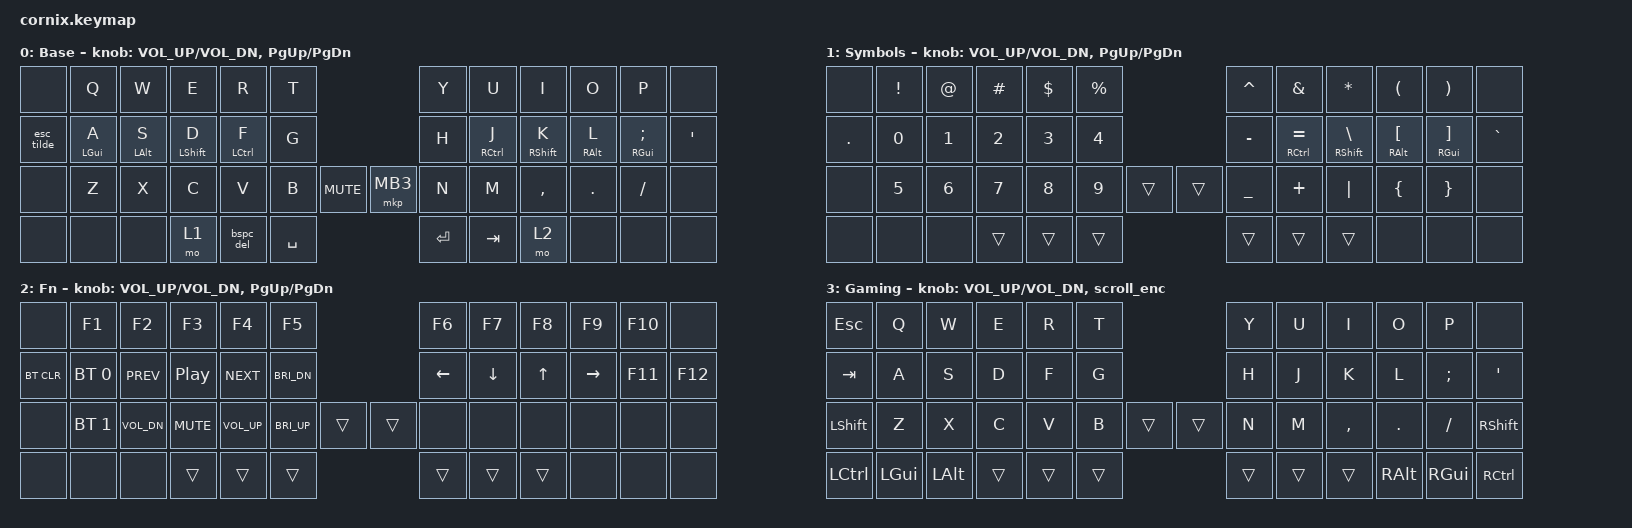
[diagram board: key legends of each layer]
/*
 * TOTEM keymap, adapted for the Cornix 50-key matrix.
 *
 * Cornix positions (see boards/jzf/cornix/cornix-layouts.dtsi):
 *   Row 0 (12):  0  1  2  3  4  5    |     6  7  8  9 10 11
 *   Row 1 (12): 12 13 14 15 16 17    |    18 19 20 21 22 23
 *   Row 2 (14): 24 25 26 27 28 29 30 | 31 32 33 34 35 36 37
 *   Row 3 (12): 38 39 40 41 42 43    |    44 45 46 47 48 49
 *
 * Adaptations from zmk-config-totem/config/totem.keymap:
 *   - pos 31 = MB3 (Base only), pos 30 = K_MUTE (board-default spots)
 *   - pos 12/23: Base esc_tilde/SQT, Symbols DOT/GRAVE, Fn BT_CLR/F12
 *   - thumb row: 44-46 = ENTER/TAB/mo2, 41-43 = mo1/bspc_del/SPACE; outer clusters empty
 *   - encoder sensor-bindings on every layer
 */

#include <behaviors.dtsi>
#include <dt-bindings/zmk/keys.h>
#include <dt-bindings/zmk/bt.h>
#include <dt-bindings/zmk/pointing.h>

/ {
    // Press both layer keys (pos 41 = mo 1, pos 46 = mo 2) together to toggle the Gaming layer (3).
    // The same combo works on the Gaming layer to switch back.
    combos {
        compatible = "zmk,combos";

        toggle_gaming: toggle_gaming {
            timeout-ms = <50>;
            key-positions = <41 46>;
            bindings = <&tog 3>;
        };
    };

    behaviors {
        // Encoder: clockwise = wheel down, counter-clockwise = wheel up
        scroll_enc: scroll_encoder {
            compatible = "zmk,behavior-sensor-rotate";
            #sensor-binding-cells = <0>;
            bindings = <&msc SCRL_DOWN>, <&msc SCRL_UP>;
        };

        // Left-hand mods: only hold when a RIGHT-hand key is pressed
        hml: home_row_mod_left {
            compatible = "zmk,behavior-hold-tap";
            label = "HRM_LEFT";
            #binding-cells = <2>;
            flavor = "tap-preferred";
            tapping-term-ms = <250>;
            quick-tap-ms = <175>;
            require-prior-idle-ms = <120>;   // flow tap
            hold-trigger-key-positions = <6 7 8 9 10 11 18 19 20 21 22 23 31 32 33 34 35 36 37 44 45 46 47 48 49>;
            hold-trigger-on-release;
            hold-while-undecided;            // speculative hold
            bindings = <&kp>, <&kp>;
        };

        // Right-hand mods: only hold when a LEFT-hand key is pressed
        hmr: home_row_mod_right {
            compatible = "zmk,behavior-hold-tap";
            label = "HRM_RIGHT";
            #binding-cells = <2>;
            flavor = "tap-preferred";
            tapping-term-ms = <250>;
            quick-tap-ms = <175>;
            require-prior-idle-ms = <120>;   // flow tap
            hold-trigger-key-positions = <0 1 2 3 4 5 12 13 14 15 16 17 24 25 26 27 28 29 30 38 39 40 41 42 43>;
            hold-trigger-on-release;
            hold-while-undecided;            // speculative hold
            bindings = <&kp>, <&kp>;
        };

        esc_tilde: esc_tilde {
            compatible = "zmk,behavior-mod-morph";
            #binding-cells = <0>;
            bindings = <&kp ESC>, <&kp GRAVE>;
            mods = <(MOD_LSFT|MOD_RSFT)>;
            keep-mods = <(MOD_LSFT|MOD_RSFT)>;
        };

        bspc_del: backspace_delete {
            compatible = "zmk,behavior-mod-morph";
            #binding-cells = <0>;
            bindings = <&kp BACKSPACE>, <&kp DELETE>;
            mods = <(MOD_LSFT|MOD_RSFT)>;
        };
    };

    keymap {
        compatible = "zmk,keymap";

        Base {
            label = "Base";
            bindings = <
    &none             &kp Q             &kp W             &kp E             &kp R             &kp T                                                 &kp Y             &kp U             &kp I             &kp O             &kp P             &none
    &esc_tilde        &hml LGUI A       &hml LALT S       &hml LSHFT D      &hml LCTRL F      &kp G                                                 &kp H             &hmr RCTRL J      &hmr RSHFT K      &hmr RALT L       &hmr RGUI SEMI    &kp SQT
    &none             &kp Z             &kp X             &kp C             &kp V             &kp B             &kp K_MUTE        &mkp MB3          &kp N             &kp M             &kp COMMA         &kp DOT           &kp SLASH         &none
    &none             &none             &none             &mo 1             &bspc_del         &kp SPACE                                             &kp ENTER         &kp TAB           &mo 2             &none             &none             &none
            >;
            sensor-bindings = <&inc_dec_kp C_VOL_UP C_VOL_DN &inc_dec_kp PG_UP PG_DN>;
        };

        Symbols {
            label = "Symbols";
            bindings = <
    &none             &kp EXCL          &kp AT            &kp HASH          &kp DLLR          &kp PRCNT                                             &kp CARET         &kp AMPS          &kp STAR          &kp LPAR          &kp RPAR          &none
    &kp DOT           &kp N0            &kp N1            &kp N2            &kp N3            &kp N4                                                &kp MINUS         &hmr RCTRL EQUAL  &hmr RSHFT BSLH   &hmr RALT LBKT    &hmr RGUI RBKT    &kp GRAVE
    &none             &kp N5            &kp N6            &kp N7            &kp N8            &kp N9            &trans            &trans            &kp UNDER         &kp PLUS          &kp PIPE          &kp LBRC          &kp RBRC          &none
    &none             &none             &none            &trans            &trans            &trans                                                 &trans            &trans            &trans            &none             &none             &none
            >;
            sensor-bindings = <&inc_dec_kp C_VOL_UP C_VOL_DN &inc_dec_kp PG_UP PG_DN>;
        };

        Fn {
            label = "Fn";
            bindings = <
    &none             &kp F1            &kp F2            &kp F3            &kp F4            &kp F5                                                &kp F6            &kp F7            &kp F8            &kp F9            &kp F10           &none
    &bt BT_CLR        &bt BT_SEL 0      &kp C_PREV        &kp C_PP          &kp C_NEXT        &kp C_BRI_DN                                          &kp LEFT          &kp DOWN          &kp UP            &kp RIGHT         &kp F11           &kp F12
    &none             &bt BT_SEL 1      &kp C_VOL_DN      &kp C_MUTE        &kp C_VOL_UP      &kp C_BRI_UP      &trans           &trans             &none             &none             &none             &none             &none             &none
    &none             &none             &none             &trans            &trans            &trans                                                &trans            &trans            &trans            &none             &none             &none
            >;
            sensor-bindings = <&inc_dec_kp C_VOL_UP C_VOL_DN &inc_dec_kp PG_UP PG_DN>;
        };

        Gaming {
            label = "Gaming";
            bindings = <
    &kp ESC           &kp Q             &kp W             &kp E             &kp R             &kp T                                                 &kp Y             &kp U             &kp I             &kp O             &kp P             &none
    &kp TAB           &kp A             &kp S             &kp D             &kp F             &kp G                                                 &kp H             &kp J             &kp K             &kp L             &kp SEMI          &kp SQT
    &kp LSHFT         &kp Z             &kp X             &kp C             &kp V             &kp B             &trans          &trans              &kp N             &kp M             &kp COMMA         &kp DOT           &kp SLASH         &kp RSHFT
    &kp LCTRL         &kp LGUI          &kp LALT          &trans            &trans            &trans                                                &trans            &trans            &trans            &kp RALT          &kp RGUI          &kp RCTRL
            >;
            sensor-bindings = <&inc_dec_kp C_VOL_UP C_VOL_DN &scroll_enc>;
        };
    };
};
